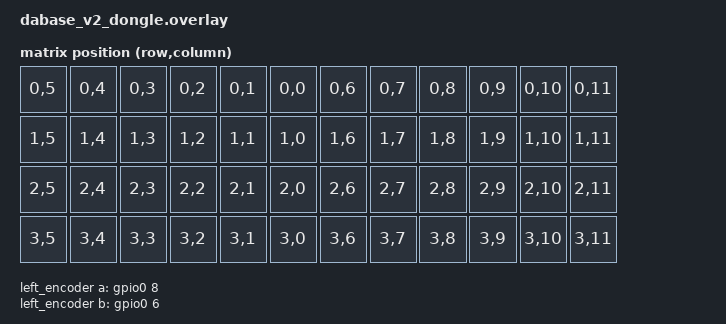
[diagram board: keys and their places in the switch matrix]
/*
 * Copyright (c) 2020 The ZMK Contributors
 *
 * SPDX-License-Identifier: MIT
 *
 * Exp69 fresh: plain pointer listener on trackball_split — no
 * temp_layer / scroll / volume input processors (cursor-only bring-up).
 * Exp72: + temp_layer layer-toggle (tp_layer = MB1/MB2/MB3 on right thumb),
 * 400 ms idle timeout, as in origin/main.
 * Exp73: + scroll-layer-toggle (hold J, layer 6) + volume-layer-toggle
 * (hold K, layer 7) via layer-specific input-processor overrides.
 */

#include <dt-bindings/zmk/keys.h>
#include <behaviors.dtsi>
#include <dt-bindings/zmk/matrix_transform.h>
#include <dt-bindings/zmk/input_transform.h>
#include "dabase_v2-layouts.dtsi"
#include <input/processors.dtsi>

/ {
    chosen {
        zmk,kscan = &mock_kscan;
        zmk,physical-layout = &dabase_layout;
    };

    mock_kscan: mock_kscan_0 {
        compatible = "zmk,kscan-mock";
        columns = <0>;
        rows = <0>;
        events = <0>;
    };

	mock_transform: keymap_transform_0 {
		compatible = "zmk,matrix-transform";
		columns = <12>;
        rows = <7>;

		map = <
            RC(0,5) RC(0,4) RC(0,3) RC(0,2) RC(0,1) RC(0,0)     RC(0,6) RC(0,7) RC(0,8) RC(0,9) RC(0,10) RC(0,11)
            RC(1,5) RC(1,4) RC(1,3) RC(1,2) RC(1,1) RC(1,0)     RC(1,6) RC(1,7) RC(1,8) RC(1,9) RC(1,10) RC(1,11)
            RC(2,5) RC(2,4) RC(2,3) RC(2,2) RC(2,1) RC(2,0)     RC(2,6) RC(2,7) RC(2,8) RC(2,9) RC(2,10) RC(2,11)
            RC(3,5) RC(3,4) RC(3,3) RC(3,2) RC(3,1) RC(3,0)     RC(3,6) RC(3,7) RC(3,8) RC(3,9) RC(3,10) RC(3,11)
        >;
	};

	left_encoder: encoder_left {
        compatible = "alps,ec11";
        a-gpios = <&gpio0 8 (GPIO_ACTIVE_HIGH | GPIO_PULL_UP)>;
        b-gpios = <&gpio0 6 (GPIO_ACTIVE_HIGH | GPIO_PULL_UP)>;
        label = "LEFT_ENCODER";
        resolution = <4>;
        status = "disabled";
    };

    sensors: sensors {
        compatible = "zmk,keymap-sensors";
        sensors = <&left_encoder>;
        triggers-per-rotation = <20>;
    };

    split_inputs {
        #address-cells = <1>;
        #size-cells = <0>;

        trackball_split: trackball_split@0 {
            compatible = "zmk,input-split";
            reg = <0>;
        };
    };

    trackball_listener: trackball_listener {
        compatible = "zmk,input-listener";
        status = "okay";
        device = <&trackball_split>;
        /* Exp72: touch the TP -> layer 5 (tp_layer) for 400 ms idle timeout,
         * giving MB1/MB2/MB3 on the right thumb cluster. Mirrors origin/main
         * (which used `<&tp_temp_layer 6 400>` on a 9-layer keymap; here
         * tp_layer is index 5 because scroll/volume layers aren't ported). */
        input-processors = <&tp_temp_layer 5 400>;

        /* Exp73: hold J (layer 6) -> trackpoint tilt becomes scroll.
         * Y-invert matches the natural-up mapping; process-next keeps the
         * touch-toggle (tp_temp_layer) active so MB1/2/3 work while
         * scroll-holding. Exp74: deltas are PowerCurve-shaped on the right
         * half again (sens 0.5x), so 1:2 may need retuning. */
        scroll_override {
            layers = <6>;
            input-processors = <&zip_xy_to_scroll_mapper>, <&zip_scroll_transform INPUT_TRANSFORM_Y_INVERT>, <&zip_scroll_scaler 1 2>;
            process-next;
        };

        /* Exp73: hold K (layer 7) -> trackpoint tilt becomes volume.
         * Y-invert so up = louder (mirrors scroll/Exp51). Keybind override
         * first (process-next), then scale X/Y to 0 so the cursor stays put
         * on layer 7 (Exp51 lesson: the zero scaler without process-next is
         * what actually eats the leftover movement — the keybind's STOP is
         * honored only because volume_move_zero has no process-next). */
        volume_override {
            layers = <7>;
            input-processors = <&zip_xy_transform INPUT_TRANSFORM_Y_INVERT>, <&keybind_volume>;
            process-next;
        };

        volume_move_zero {
            layers = <7>;
            input-processors = <&zip_xy_scaler 0 1>;
        };
    };

    tp_temp_layer: tp_temp_layer {
        compatible = "zmk,input-processor-temp-layer";
        #input-processor-cells = <2>;
        status = "okay";
    };

    /* Exp73: volume keybind — defined inline (the module's own dtsi pulls
     * <dt-bindings/zmk/input-processor-keybind.h>, missing from ZMK + the
     * module). Bindings order is [RIGHT, LEFT, DOWN, UP] per press_work_cb:
     * X mapped to &none so only Y produces volume. tick 32 = very slow,
     * ~3x slower than scroll (Exp51 tuning). */
    keybind_volume: keybind_volume {
        compatible = "zmk,input-processor-keybind";
        #input-processor-cells = <0>;
        mode = <0>;
        track_remainders;
        bindings = <&none>, <&none>, <&kp C_VOLUME_DOWN>, <&kp C_VOLUME_UP>;
        tick = <32>;
        wait-ms = <10>;
        tap-ms = <12>;
        threshold = <1>;
        max_threshold = <512>;
        max_pending_activations = <2>;
    };
};

&dabase_layout {
    transform = <&mock_transform>;
};
